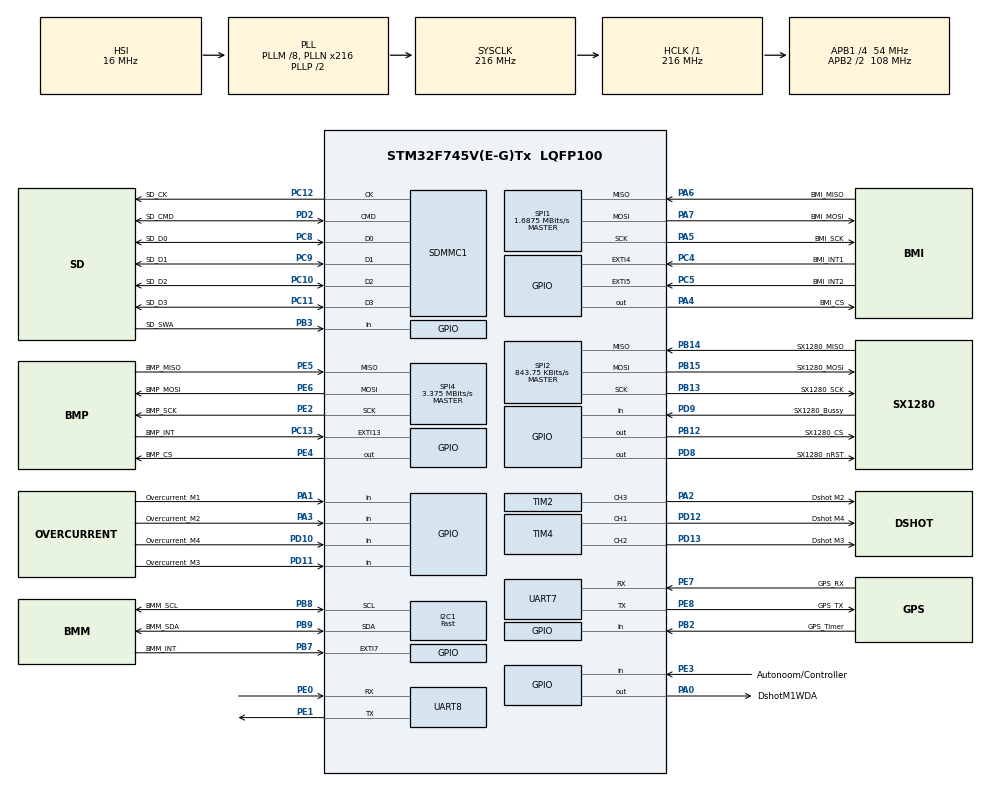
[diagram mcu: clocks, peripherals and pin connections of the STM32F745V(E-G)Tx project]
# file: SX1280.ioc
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CORTEX_M7.default_mode_Activation=1
Dma.Request0=TIM4_CH1
Dma.Request1=TIM4_CH2
Dma.Request2=TIM2_UP/CH3
Dma.TIM2_UP/CH3.2.Direction=DMA_MEMORY_TO_PERIPH
Dma.TIM2_UP/CH3.2.FIFOMode=DMA_FIFOMODE_DISABLE
Dma.TIM2_UP/CH3.2.Instance=DMA1_Stream1
Dma.TIM2_UP/CH3.2.MemDataAlignment=DMA_MDATAALIGN_WORD
Dma.TIM2_UP/CH3.2.MemInc=DMA_MINC_ENABLE
Dma.TIM2_UP/CH3.2.Mode=DMA_NORMAL
Dma.TIM2_UP/CH3.2.PeriphDataAlignment=DMA_PDATAALIGN_WORD
Dma.TIM2_UP/CH3.2.PeriphInc=DMA_PINC_DISABLE
Dma.TIM2_UP/CH3.2.Priority=DMA_PRIORITY_VERY_HIGH
Dma.TIM4_CH1.0.Direction=DMA_MEMORY_TO_PERIPH
Dma.TIM4_CH1.0.FIFOMode=DMA_FIFOMODE_DISABLE
Dma.TIM4_CH1.0.Instance=DMA1_Stream0
Dma.TIM4_CH1.0.MemDataAlignment=DMA_MDATAALIGN_HALFWORD
Dma.TIM4_CH1.0.MemInc=DMA_MINC_ENABLE
Dma.TIM4_CH1.0.Mode=DMA_NORMAL
Dma.TIM4_CH1.0.PeriphDataAlignment=DMA_PDATAALIGN_HALFWORD
Dma.TIM4_CH1.0.PeriphInc=DMA_PINC_DISABLE
Dma.TIM4_CH1.0.Priority=DMA_PRIORITY_VERY_HIGH
Dma.TIM4_CH2.1.Direction=DMA_MEMORY_TO_PERIPH
Dma.TIM4_CH2.1.FIFOMode=DMA_FIFOMODE_DISABLE
Dma.TIM4_CH2.1.Instance=DMA1_Stream3
Dma.TIM4_CH2.1.MemDataAlignment=DMA_MDATAALIGN_HALFWORD
Dma.TIM4_CH2.1.MemInc=DMA_MINC_ENABLE
Dma.TIM4_CH2.1.Mode=DMA_NORMAL
Dma.TIM4_CH2.1.PeriphDataAlignment=DMA_PDATAALIGN_HALFWORD
Dma.TIM4_CH2.1.PeriphInc=DMA_PINC_DISABLE
Dma.TIM4_CH2.1.Priority=DMA_PRIORITY_VERY_HIGH
FATFS.BSP.number=1
FATFS0.BSP.STBoard=false
FATFS0.BSP.api=Unknown
FATFS0.BSP.instance=PB3
FATFS0.BSP.ip=GPIO
FATFS0.BSP.mode=Input
FATFS0.BSP.name=Detect_SDIO
FATFS0.BSP.solution=PB3
I2C1.I2C_Speed_Mode=I2C_Fast
I2C1.Timing=0x6000030D
Mcu.Family=STM32F7
Mcu.Name=STM32F745V(E-G)Tx
Mcu.Package=LQFP100
NVIC.DMA1_Stream0_IRQn=true\:0\:0\:false\:false\:true\:false\:true\:true
NVIC.DMA1_Stream1_IRQn=true\:0\:0\:false\:false\:true\:false\:true\:true
NVIC.DMA1_Stream3_IRQn=true\:0\:0\:false\:false\:true\:false\:true\:true
NVIC.EXTI15_10_IRQn=true\:0\:0\:false\:false\:true\:true\:true\:true
NVIC.EXTI4_IRQn=true\:3\:0\:true\:false\:true\:true\:true\:true
NVIC.EXTI9_5_IRQn=true\:3\:0\:true\:false\:true\:true\:true\:true
NVIC.PriorityGroup=NVIC_PRIORITYGROUP_4
NVIC.TIM3_IRQn=true\:0\:0\:false\:false\:true\:true\:true\:true
PA0/WKUP.GPIO_Label=DshotM1WDA
PA0/WKUP.Signal=GPIO_Output
PA1.GPIO_Label=Overcurrent_M1
PA1.Signal=GPIO_Input
PA13.GPIO_Label=STLink_DIO
PA13.Mode=Serial_Wire
PA13.Signal=SYS_JTMS-SWDIO
PA14.GPIO_Label=STLink_CLK
PA14.Mode=Serial_Wire
PA14.Signal=SYS_JTCK-SWCLK
PA2.GPIO_Label=Dshot M2
PA2.Signal=S_TIM2_CH3
PA3.GPIO_Label=Overcurrent_M2
PA3.Signal=GPIO_Input
PA4.GPIO_Label=BMI_CS
PA4.Signal=GPIO_Output
PA5.GPIO_Label=BMI_SCK
PA5.Mode=Full_Duplex_Master
PA5.Signal=SPI1_SCK
PA6.GPIO_Label=BMI_MISO
PA6.Mode=Full_Duplex_Master
PA6.Signal=SPI1_MISO
PA7.GPIO_Label=BMI_MOSI
PA7.Mode=Full_Duplex_Master
PA7.Signal=SPI1_MOSI
PB12.GPIO_Label=SX1280_CS
PB12.PinState=GPIO_PIN_SET
PB12.Signal=GPIO_Output
PB13.GPIO_Label=SX1280_SCK
PB13.Mode=Full_Duplex_Master
PB13.Signal=SPI2_SCK
PB14.GPIO_Label=SX1280_MISO
PB14.Mode=Full_Duplex_Master
PB14.Signal=SPI2_MISO
PB15.GPIO_Label=SX1280_MOSI
PB15.Mode=Full_Duplex_Master
PB15.Signal=SPI2_MOSI
PB2.GPIO_Label=GPS_Timer
PB2.Signal=GPIO_Input
PB3.GPIO_Label=SD_SWA
PB3.Signal=GPIO_Input
PB7.GPIO_Label=BMM_INT
PB7.Signal=GPXTI7
PB8.GPIO_Label=BMM_SCL
PB8.Mode=I2C
PB8.Signal=I2C1_SCL
PB9.GPIO_Label=BMM_SDA
PB9.Mode=I2C
PB9.Signal=I2C1_SDA
PC10.GPIO_Label=SD_D2
PC10.Mode=SD_4_bits_Wide_bus
PC10.Signal=SDMMC1_D2
PC11.GPIO_Label=SD_D3
PC11.Mode=SD_4_bits_Wide_bus
PC11.Signal=SDMMC1_D3
PC12.GPIO_Label=SD_CK
PC12.Mode=SD_4_bits_Wide_bus
PC12.Signal=SDMMC1_CK
PC13.GPIO_Label=BMP_INT
PC13.Signal=GPXTI13
PC4.GPIO_Label=BMI_INT1
PC4.Signal=GPXTI4
PC5.GPIO_Label=BMI_INT2
PC5.Signal=GPXTI5
PC8.GPIO_Label=SD_D0
PC8.Mode=SD_4_bits_Wide_bus
PC8.Signal=SDMMC1_D0
PC9.GPIO_Label=SD_D1
PC9.Mode=SD_4_bits_Wide_bus
PC9.Signal=SDMMC1_D1
PD10.GPIO_Label=Overcurrent_M4
PD10.Signal=GPIO_Input
PD11.GPIO_Label=Overcurrent_M3
PD11.Signal=GPIO_Input
PD12.GPIO_Label=Dshot M4
PD12.Signal=S_TIM4_CH1
PD13.GPIO_Label=Dshot M3
PD13.Signal=S_TIM4_CH2
PD2.GPIO_Label=SD_CMD
PD2.Mode=SD_4_bits_Wide_bus
PD2.Signal=SDMMC1_CMD
PD8.GPIO_Label=SX1280_nRST
PD8.Signal=GPIO_Output
PD9.GPIO_Label=SX1280_Bussy
PD9.GPIO_PuPd=GPIO_PULLDOWN
PD9.Signal=GPIO_Input
PE0.Mode=Asynchronous
PE0.Signal=UART8_RX
PE1.Mode=Asynchronous
PE1.Signal=UART8_TX
PE2.GPIO_Label=BMP_SCK
PE2.Mode=Full_Duplex_Master
PE2.Signal=SPI4_SCK
PE3.GPIO_Label=Autonoom/Controller
PE3.Signal=GPIO_Input
PE4.GPIO_Label=BMP_CS
PE4.Signal=GPIO_Output
PE5.GPIO_Label=BMP_MISO
PE5.Mode=Full_Duplex_Master
PE5.Signal=SPI4_MISO
PE6.GPIO_Label=BMP_MOSI
PE6.Mode=Full_Duplex_Master
PE6.Signal=SPI4_MOSI
PE7.GPIO_Label=GPS_RX
PE7.Mode=Asynchronous
PE7.Signal=UART7_RX
PE8.GPIO_Label=GPS_TX
PE8.Mode=Asynchronous
PE8.Signal=UART7_TX
PH0/OSC_IN.Mode=HSE-External-Oscillator
PH0/OSC_IN.Signal=RCC_OSC_IN
PH1/OSC_OUT.Mode=HSE-External-Oscillator
PH1/OSC_OUT.Signal=RCC_OSC_OUT
ProjectManager.HeapSize=0x200
ProjectManager.StackSize=0x400
ProjectManager.TargetToolchain=STM32CubeIDE
RCC.AHBFreq_Value=216000000
RCC.APB1CLKDivider=RCC_HCLK_DIV4
RCC.APB1Freq_Value=54000000
RCC.APB1TimFreq_Value=108000000
RCC.APB2CLKDivider=RCC_HCLK_DIV2
RCC.APB2Freq_Value=108000000
RCC.APB2TimFreq_Value=216000000
RCC.CortexFreq_Value=216000000
RCC.HCLKFreq_Value=216000000
RCC.HSE_VALUE=16000000
RCC.HSI_VALUE=16000000
RCC.LSE_VALUE=32768
RCC.PLLM=8
RCC.PLLN=216
RCC.PLLQ=9
RCC.SDMMCClockSelection=RCC_SDMMC1CLKSOURCE_CLK48
RCC.SYSCLKFreq_VALUE=216000000
RCC.SYSCLKSource=RCC_SYSCLKSOURCE_PLLCLK
RCC.USBFreq_Value=48000000
RCC.VCOOutputFreq_Value=432000000
SDMMC1.ClockBypass=SDMMC_CLOCK_BYPASS_DISABLE
SH.S_TIM2_CH3.0=TIM2_CH3,PWM Generation3 CH3
SH.S_TIM4_CH1.0=TIM4_CH1,PWM Generation1 CH1
SH.S_TIM4_CH2.0=TIM4_CH2,PWM Generation2 CH2
SPI1.BaudRatePrescaler=SPI_BAUDRATEPRESCALER_64
SPI1.CLKPhase=SPI_PHASE_1EDGE
SPI1.CLKPolarity=SPI_POLARITY_LOW
SPI1.CalculateBaudRate=1.6875 MBits/s
SPI1.DataSize=SPI_DATASIZE_8BIT
SPI1.Direction=SPI_DIRECTION_2LINES
SPI1.Mode=SPI_MODE_MASTER
SPI1.VirtualType=VM_MASTER
SPI2.BaudRatePrescaler=SPI_BAUDRATEPRESCALER_64
SPI2.CalculateBaudRate=843.75 KBits/s
SPI2.DataSize=SPI_DATASIZE_8BIT
SPI2.Direction=SPI_DIRECTION_2LINES
SPI2.Mode=SPI_MODE_MASTER
SPI2.NSSPMode=SPI_NSS_PULSE_DISABLE
SPI2.VirtualType=VM_MASTER
SPI4.BaudRatePrescaler=SPI_BAUDRATEPRESCALER_32
SPI4.CLKPhase=SPI_PHASE_1EDGE
SPI4.CLKPolarity=SPI_POLARITY_LOW
SPI4.CalculateBaudRate=3.375 MBits/s
SPI4.DataSize=SPI_DATASIZE_8BIT
SPI4.Direction=SPI_DIRECTION_2LINES
SPI4.Mode=SPI_MODE_MASTER
SPI4.VirtualType=VM_MASTER
TIM2.Channel-PWM\ Generation3\ CH3=TIM_CHANNEL_3
TIM3.Period=19999
TIM3.Prescaler=107
TIM4.Channel-PWM\ Generation1\ CH1=TIM_CHANNEL_1
TIM4.Channel-PWM\ Generation2\ CH2=TIM_CHANNEL_2
UART8.SwapParam=UART_ADVFEATURE_SWAP_ENABLE
VP_FATFS_VS_SDIO.Mode=SDIO
VP_TIM3_VS_ClockSourceINT.Mode=Internal
board=custom

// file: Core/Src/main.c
/* USER CODE BEGIN Header */
/**
  ******************************************************************************
  * @file           : main.c
  * @brief          : Main program body
  ******************************************************************************
  * @attention
  *
  * Copyright (c) 2026 STMicroelectronics.
  * All rights reserved.
  *
  * This software is licensed under terms that can be found in the LICENSE file
  * in the root directory of this software component.
  * If no LICENSE file comes with this software, it is provided AS-IS.
  *
  ******************************************************************************
  */
/* USER CODE END Header */
#include "main.h"
#include "fatfs.h"

/* USER CODE BEGIN Includes */
//#include "BMI330.h"
#include "stdio.h"
#include "sx1280include.h"
#include <stdint.h>
/* USER CODE END Includes */

/* USER CODE BEGIN PD */
#define FHSS_SEQUENCE_LEN 256  // ELRS standaard sequence lengte
#define FREQ_COUNT 80          // Aantal kanalen in ISM2400 band
#define SYNC_CHANNEL 40        // Midden van de band (80 / 2)
/* USER CODE END PD */

I2C_HandleTypeDef hi2c1;

SD_HandleTypeDef hsd1;

SPI_HandleTypeDef hspi1;
SPI_HandleTypeDef hspi2;
SPI_HandleTypeDef hspi4;

TIM_HandleTypeDef htim2;
TIM_HandleTypeDef htim3;
TIM_HandleTypeDef htim4;
DMA_HandleTypeDef hdma_tim2_up_ch3;
DMA_HandleTypeDef hdma_tim4_ch1;
DMA_HandleTypeDef hdma_tim4_ch2;

UART_HandleTypeDef huart7;
UART_HandleTypeDef huart8;

/* USER CODE BEGIN PV */
/*
PID_Handle_t struct_PidRateRoll;
PID_Handle_t struct_PidRatePitch;
PID_Handle_t struct_PidRateYaw;
*/
/* USER CODE END PV */

void SystemClock_Config(void);
static void MPU_Config(void);
static void MX_GPIO_Init(void);
static void MX_DMA_Init(void);
static void MX_I2C1_Init(void);
static void MX_SDMMC1_SD_Init(void);
static void MX_SPI1_Init(void);
static void MX_SPI2_Init(void);
static void MX_SPI4_Init(void);
static void MX_TIM2_Init(void);
static void MX_TIM4_Init(void);
static void MX_UART7_Init(void);
static void MX_UART8_Init(void);
static void MX_TIM3_Init(void);

/* USER CODE BEGIN 0 */
int _write(int file, char *ptr, int len) {
	for(int i = 0; i < len; i++){
		if(ptr[i]=='\n'){
			HAL_UART_Transmit(&huart8, (uint8_t*)"\r", 1, HAL_MAX_DELAY);
		}
		HAL_UART_Transmit(&huart8, (uint8_t*)&ptr[i], 1, HAL_MAX_DELAY);
	}
    return len;
}

volatile uint8_t rx_packet_flag = 0;
int new_gyro_data_available = 0;

volatile uint8_t fhss_index = 0;
volatile uint8_t is_synchronized = 0;
uint32_t fhss_seed;
uint8_t fhss_sequence[FHSS_SEQUENCE_LEN];

// --- PRNG Functies (gebaseerd op ELRS random.cpp) ---
void rngSeed(uint32_t seed) {
    fhss_seed = seed;
}

uint32_t rng32(void) {
    fhss_seed ^= fhss_seed << 13;
    fhss_seed ^= fhss_seed >> 17;
    fhss_seed ^= fhss_seed << 5;
    return fhss_seed;
}

// Genereert random getal van 0 tot (max - 1)
uint32_t rngN(uint32_t max) {
    return ((uint64_t)rng32() * max) >> 32;
}

// --- De exacte FHSS bouwer uit jouw bestand ---
void FHSS_GenerateSequence(void) {
    // Jouw specifieke seed (laatste 4 bytes van UID: 163, 59, 219, 118, 199, 162)
    uint32_t my_seed = (219 << 24) | (118 << 16) | (199 << 8) | 162;
    rngSeed(my_seed);

    // 1. Array initialiseren in blokken van 80
    for (uint16_t i = 0; i < FHSS_SEQUENCE_LEN; i++) {
        if (i % FREQ_COUNT == 0) {
            fhss_sequence[i] = SYNC_CHANNEL; // Zet kanaal 40 altijd vooraan het blok
        } else if (i % FREQ_COUNT == SYNC_CHANNEL) {
            fhss_sequence[i] = 0;
        } else {
            fhss_sequence[i] = i % FREQ_COUNT;
        }
    }

    // 2. Array shufflen, maar het Sync Kanaal negeren!
    for (uint16_t i = 0; i < FHSS_SEQUENCE_LEN; i++) {
        // Als het NIET het sync kanaal is (dus niet index 0, 80, 160, 240)
        if (i % FREQ_COUNT != 0) {
            uint8_t offset = (i / FREQ_COUNT) * FREQ_COUNT;  // Bereken begin van huidige blok
            uint8_t rand = rngN(FREQ_COUNT - 1) + 1;         // Random offset tussen 1 en 79

            // Wissel dit element met een ander random element in hetzelfde blok
            uint8_t temp = fhss_sequence[i];
            fhss_sequence[i] = fhss_sequence[offset + rand];
            fhss_sequence[offset + rand] = temp;
        }
    }
}

/* USER CODE END 0 */

int main(void)
{

  /* MPU Configuration--------------------------------------------------------*/
  MPU_Config();

  /* MCU Configuration--------------------------------------------------------*/

  /* Reset of all peripherals, Initializes the Flash interface and the Systick. */
  HAL_Init();

  /* USER CODE BEGIN Init */
  //Init_RateLoops();
  //BMM350_Init();
  //BMP384_Init();
  //BMI330_Init();
  //PID_HandleInit(struct_PidRateRoll);
  //PID_HandleInit(struct_PidRatePitch);
  //PID_HandleInit(struct_PidRateYaw);

  /* USER CODE END Init */

  /* Configure the system clock */
  SystemClock_Config();

  /* Initialize all configured peripherals */
  MX_GPIO_Init();
  MX_DMA_Init();
  MX_I2C1_Init();
  MX_SDMMC1_SD_Init();
  MX_SPI1_Init();
  MX_SPI2_Init();
  MX_SPI4_Init();
  MX_TIM2_Init();
  MX_TIM4_Init();
  MX_UART7_Init();
  MX_FATFS_Init();
  MX_UART8_Init();
  MX_TIM3_Init();
  /* USER CODE BEGIN 2 */
  HAL_TIM_Base_Start_IT(&htim3);
  HAL_Delay(5000);
  uint8_t is_sx1280_working = SX1280_TestConnection();
  while(is_sx1280_working == 0){
    if(is_sx1280_working == 0){
        printf("Er is een fout\n");
        //while(1);
    }
    HAL_Delay(100);
    is_sx1280_working = SX1280_TestConnection();
  }
  	printf("Het werkt\n");

//HAL_Delay(5000);
    SX1280_Setup_Sniper();

    FHSS_GenerateSequence();
	for(int i = 0; i < 80; i++){
		printf("%d, ",  fhss_sequence[i]);
	}
	printf("\n");

      // zendvermogen, rampup time: 13 dBm, 20us
      //SX1280_SetTxParams(0x1F, 0xE0);

      //uint32_t last_send_time = 0;
      //uint8_t test_payload[] = {0x48, 0x65, 0x6C, 0x6C, 0x6F}; // "Hello"
      //SX1280_SetTxContinuousWave();

  /* USER CODE END 2 */

  /* Infinite loop */
  /* USER CODE BEGIN WHILE */
  while (1)
  {
	  // 1. Polling: Vraag via SPI of het RxDone bitje is gezet
	          if (SX1280_CheckRxDonePolling() == 1)
	          {
	              printf("[MAIN] Pakket gevonden via POLLING! Data verwerken...\n");

	              // Deze functie leest de data, wist de IRQ vlag en start RX opnieuw
	              SX1280_OnPacketReceived();
	          }

	          // 2. Heartbeat: Zodat we weten dat de loop niet is vastgelopen
	          static uint32_t last_heartbeat = 0;
	          if ((HAL_GetTick() - last_heartbeat) > 2000)
	          {
	              last_heartbeat = HAL_GetTick();
	              printf("Aan het luisteren op 2.4404 GHz (Sync Kanaal)...\n");
	              int8_t waardedb = SX1280_GetRssiInst();
	              printf("db waarde: %d\n", waardedb);
	          }

	          // Een heel klein beetje ademruimte voor de loop (voorkomt dat de SPI bus continu wordt gespamd)
	          HAL_Delay(1);
    /* USER CODE END WHILE */

  }
}

void SystemClock_Config(void)
{
  RCC_OscInitTypeDef RCC_OscInitStruct = {0};
  RCC_ClkInitTypeDef RCC_ClkInitStruct = {0};

  /** Configure the main internal regulator output voltage
  */
  __HAL_RCC_PWR_CLK_ENABLE();
  __HAL_PWR_VOLTAGESCALING_CONFIG(PWR_REGULATOR_VOLTAGE_SCALE1);

  /** Initializes the RCC Oscillators according to the specified parameters
  * in the RCC_OscInitTypeDef structure.
  */
  RCC_OscInitStruct.OscillatorType = RCC_OSCILLATORTYPE_HSI;
  RCC_OscInitStruct.HSIState = RCC_HSI_ON;
  RCC_OscInitStruct.HSICalibrationValue = RCC_HSICALIBRATION_DEFAULT;
  RCC_OscInitStruct.PLL.PLLState = RCC_PLL_ON;
  RCC_OscInitStruct.PLL.PLLSource = RCC_PLLSOURCE_HSI;
  RCC_OscInitStruct.PLL.PLLM = 8;
  RCC_OscInitStruct.PLL.PLLN = 216;
  RCC_OscInitStruct.PLL.PLLP = RCC_PLLP_DIV2;
  RCC_OscInitStruct.PLL.PLLQ = 9;
  if (HAL_RCC_OscConfig(&RCC_OscInitStruct) != HAL_OK)
  {
    Error_Handler();
  }

  /** Activate the Over-Drive mode
  */
  if (HAL_PWREx_EnableOverDrive() != HAL_OK)
  {
    Error_Handler();
  }

  /** Initializes the CPU, AHB and APB buses clocks
  */
  RCC_ClkInitStruct.ClockType = RCC_CLOCKTYPE_HCLK|RCC_CLOCKTYPE_SYSCLK
                              |RCC_CLOCKTYPE_PCLK1|RCC_CLOCKTYPE_PCLK2;
  RCC_ClkInitStruct.SYSCLKSource = RCC_SYSCLKSOURCE_PLLCLK;
  RCC_ClkInitStruct.AHBCLKDivider = RCC_SYSCLK_DIV1;
  RCC_ClkInitStruct.APB1CLKDivider = RCC_HCLK_DIV4;
  RCC_ClkInitStruct.APB2CLKDivider = RCC_HCLK_DIV2;

  if (HAL_RCC_ClockConfig(&RCC_ClkInitStruct, FLASH_LATENCY_7) != HAL_OK)
  {
    Error_Handler();
  }
}

static void MX_I2C1_Init(void)
{

  hi2c1.Instance = I2C1;
  hi2c1.Init.Timing = 0x6000030D;
  hi2c1.Init.OwnAddress1 = 0;
  hi2c1.Init.AddressingMode = I2C_ADDRESSINGMODE_7BIT;
  hi2c1.Init.DualAddressMode = I2C_DUALADDRESS_DISABLE;
  hi2c1.Init.OwnAddress2 = 0;
  hi2c1.Init.OwnAddress2Masks = I2C_OA2_NOMASK;
  hi2c1.Init.GeneralCallMode = I2C_GENERALCALL_DISABLE;
  hi2c1.Init.NoStretchMode = I2C_NOSTRETCH_DISABLE;
  if (HAL_I2C_Init(&hi2c1) != HAL_OK)
  {
    Error_Handler();
  }

  /** Configure Analogue filter
  */
  if (HAL_I2CEx_ConfigAnalogFilter(&hi2c1, I2C_ANALOGFILTER_ENABLE) != HAL_OK)
  {
    Error_Handler();
  }

  /** Configure Digital filter
  */
  if (HAL_I2CEx_ConfigDigitalFilter(&hi2c1, 0) != HAL_OK)
  {
    Error_Handler();
  }

}

static void MX_SDMMC1_SD_Init(void)
{

  hsd1.Instance = SDMMC1;
  hsd1.Init.ClockEdge = SDMMC_CLOCK_EDGE_RISING;
  hsd1.Init.ClockBypass = SDMMC_CLOCK_BYPASS_DISABLE;
  hsd1.Init.ClockPowerSave = SDMMC_CLOCK_POWER_SAVE_DISABLE;
  hsd1.Init.BusWide = SDMMC_BUS_WIDE_1B;
  hsd1.Init.HardwareFlowControl = SDMMC_HARDWARE_FLOW_CONTROL_DISABLE;
  hsd1.Init.ClockDiv = 0;

}

static void MX_SPI1_Init(void)
{

  /* SPI1 parameter configuration*/
  hspi1.Instance = SPI1;
  hspi1.Init.Mode = SPI_MODE_MASTER;
  hspi1.Init.Direction = SPI_DIRECTION_2LINES;
  hspi1.Init.DataSize = SPI_DATASIZE_8BIT;
  hspi1.Init.CLKPolarity = SPI_POLARITY_LOW;
  hspi1.Init.CLKPhase = SPI_PHASE_1EDGE;
  hspi1.Init.NSS = SPI_NSS_SOFT;
  hspi1.Init.BaudRatePrescaler = SPI_BAUDRATEPRESCALER_64;
  hspi1.Init.FirstBit = SPI_FIRSTBIT_MSB;
  hspi1.Init.TIMode = SPI_TIMODE_DISABLE;
  hspi1.Init.CRCCalculation = SPI_CRCCALCULATION_DISABLE;
  hspi1.Init.CRCPolynomial = 7;
  hspi1.Init.CRCLength = SPI_CRC_LENGTH_DATASIZE;
  hspi1.Init.NSSPMode = SPI_NSS_PULSE_ENABLE;
  if (HAL_SPI_Init(&hspi1) != HAL_OK)
  {
    Error_Handler();
  }

}

static void MX_SPI2_Init(void)
{

  /* SPI2 parameter configuration*/
  hspi2.Instance = SPI2;
  hspi2.Init.Mode = SPI_MODE_MASTER;
  hspi2.Init.Direction = SPI_DIRECTION_2LINES;
  hspi2.Init.DataSize = SPI_DATASIZE_8BIT;
  hspi2.Init.CLKPolarity = SPI_POLARITY_LOW;
  hspi2.Init.CLKPhase = SPI_PHASE_1EDGE;
  hspi2.Init.NSS = SPI_NSS_SOFT;
  hspi2.Init.BaudRatePrescaler = SPI_BAUDRATEPRESCALER_64;
  hspi2.Init.FirstBit = SPI_FIRSTBIT_MSB;
  hspi2.Init.TIMode = SPI_TIMODE_DISABLE;
  hspi2.Init.CRCCalculation = SPI_CRCCALCULATION_DISABLE;
  hspi2.Init.CRCPolynomial = 7;
  hspi2.Init.CRCLength = SPI_CRC_LENGTH_DATASIZE;
  hspi2.Init.NSSPMode = SPI_NSS_PULSE_DISABLE;
  if (HAL_SPI_Init(&hspi2) != HAL_OK)
  {
    Error_Handler();
  }

}

static void MX_SPI4_Init(void)
{

  /* SPI4 parameter configuration*/
  hspi4.Instance = SPI4;
  hspi4.Init.Mode = SPI_MODE_MASTER;
  hspi4.Init.Direction = SPI_DIRECTION_2LINES;
  hspi4.Init.DataSize = SPI_DATASIZE_8BIT;
  hspi4.Init.CLKPolarity = SPI_POLARITY_LOW;
  hspi4.Init.CLKPhase = SPI_PHASE_1EDGE;
  hspi4.Init.NSS = SPI_NSS_SOFT;
  hspi4.Init.BaudRatePrescaler = SPI_BAUDRATEPRESCALER_32;
  hspi4.Init.FirstBit = SPI_FIRSTBIT_MSB;
  hspi4.Init.TIMode = SPI_TIMODE_DISABLE;
  hspi4.Init.CRCCalculation = SPI_CRCCALCULATION_DISABLE;
  hspi4.Init.CRCPolynomial = 7;
  hspi4.Init.CRCLength = SPI_CRC_LENGTH_DATASIZE;
  hspi4.Init.NSSPMode = SPI_NSS_PULSE_ENABLE;
  if (HAL_SPI_Init(&hspi4) != HAL_OK)
  {
    Error_Handler();
  }

}

static void MX_TIM2_Init(void)
{

  TIM_MasterConfigTypeDef sMasterConfig = {0};
  TIM_OC_InitTypeDef sConfigOC = {0};

  htim2.Instance = TIM2;
  htim2.Init.Prescaler = 0;
  htim2.Init.CounterMode = TIM_COUNTERMODE_UP;
  htim2.Init.Period = 4294967295;
  htim2.Init.ClockDivision = TIM_CLOCKDIVISION_DIV1;
  htim2.Init.AutoReloadPreload = TIM_AUTORELOAD_PRELOAD_DISABLE;
  if (HAL_TIM_PWM_Init(&htim2) != HAL_OK)
  {
    Error_Handler();
  }
  sMasterConfig.MasterOutputTrigger = TIM_TRGO_RESET;
  sMasterConfig.MasterSlaveMode = TIM_MASTERSLAVEMODE_DISABLE;
  if (HAL_TIMEx_MasterConfigSynchronization(&htim2, &sMasterConfig) != HAL_OK)
  {
    Error_Handler();
  }
  sConfigOC.OCMode = TIM_OCMODE_PWM1;
  sConfigOC.Pulse = 0;
  sConfigOC.OCPolarity = TIM_OCPOLARITY_HIGH;
  sConfigOC.OCFastMode = TIM_OCFAST_DISABLE;
  if (HAL_TIM_PWM_ConfigChannel(&htim2, &sConfigOC, TIM_CHANNEL_3) != HAL_OK)
  {
    Error_Handler();
  }
  HAL_TIM_MspPostInit(&htim2);

}

static void MX_TIM3_Init(void)
{

  TIM_ClockConfigTypeDef sClockSourceConfig = {0};
  TIM_MasterConfigTypeDef sMasterConfig = {0};

  htim3.Instance = TIM3;
  htim3.Init.Prescaler = 107;
  htim3.Init.CounterMode = TIM_COUNTERMODE_UP;
  htim3.Init.Period = 19999;
  htim3.Init.ClockDivision = TIM_CLOCKDIVISION_DIV1;
  htim3.Init.AutoReloadPreload = TIM_AUTORELOAD_PRELOAD_DISABLE;
  if (HAL_TIM_Base_Init(&htim3) != HAL_OK)
  {
    Error_Handler();
  }
  sClockSourceConfig.ClockSource = TIM_CLOCKSOURCE_INTERNAL;
  if (HAL_TIM_ConfigClockSource(&htim3, &sClockSourceConfig) != HAL_OK)
  {
    Error_Handler();
  }
  sMasterConfig.MasterOutputTrigger = TIM_TRGO_RESET;
  sMasterConfig.MasterSlaveMode = TIM_MASTERSLAVEMODE_DISABLE;
  if (HAL_TIMEx_MasterConfigSynchronization(&htim3, &sMasterConfig) != HAL_OK)
  {
    Error_Handler();
  }

}

static void MX_TIM4_Init(void)
{

  TIM_MasterConfigTypeDef sMasterConfig = {0};
  TIM_OC_InitTypeDef sConfigOC = {0};

  htim4.Instance = TIM4;
  htim4.Init.Prescaler = 0;
  htim4.Init.CounterMode = TIM_COUNTERMODE_UP;
  htim4.Init.Period = 65535;
  htim4.Init.ClockDivision = TIM_CLOCKDIVISION_DIV1;
  htim4.Init.AutoReloadPreload = TIM_AUTORELOAD_PRELOAD_DISABLE;
  if (HAL_TIM_PWM_Init(&htim4) != HAL_OK)
  {
    Error_Handler();
  }
  sMasterConfig.MasterOutputTrigger = TIM_TRGO_RESET;
  sMasterConfig.MasterSlaveMode = TIM_MASTERSLAVEMODE_DISABLE;
  if (HAL_TIMEx_MasterConfigSynchronization(&htim4, &sMasterConfig) != HAL_OK)
  {
    Error_Handler();
  }
  sConfigOC.OCMode = TIM_OCMODE_PWM1;
  sConfigOC.Pulse = 0;
  sConfigOC.OCPolarity = TIM_OCPOLARITY_HIGH;
  sConfigOC.OCFastMode = TIM_OCFAST_DISABLE;
  if (HAL_TIM_PWM_ConfigChannel(&htim4, &sConfigOC, TIM_CHANNEL_1) != HAL_OK)
  {
    Error_Handler();
  }
  if (HAL_TIM_PWM_ConfigChannel(&htim4, &sConfigOC, TIM_CHANNEL_2) != HAL_OK)
  {
    Error_Handler();
  }
  HAL_TIM_MspPostInit(&htim4);

}

static void MX_UART7_Init(void)
{

  huart7.Instance = UART7;
  huart7.Init.BaudRate = 115200;
  huart7.Init.WordLength = UART_WORDLENGTH_8B;
  huart7.Init.StopBits = UART_STOPBITS_1;
  huart7.Init.Parity = UART_PARITY_NONE;
  huart7.Init.Mode = UART_MODE_TX_RX;
  huart7.Init.HwFlowCtl = UART_HWCONTROL_NONE;
  huart7.Init.OverSampling = UART_OVERSAMPLING_16;
  huart7.Init.OneBitSampling = UART_ONE_BIT_SAMPLE_DISABLE;
  huart7.AdvancedInit.AdvFeatureInit = UART_ADVFEATURE_NO_INIT;
  if (HAL_UART_Init(&huart7) != HAL_OK)
  {
    Error_Handler();
  }

}

static void MX_UART8_Init(void)
{

  huart8.Instance = UART8;
  huart8.Init.BaudRate = 115200;
  huart8.Init.WordLength = UART_WORDLENGTH_8B;
  huart8.Init.StopBits = UART_STOPBITS_1;
  huart8.Init.Parity = UART_PARITY_NONE;
  huart8.Init.Mode = UART_MODE_TX_RX;
  huart8.Init.HwFlowCtl = UART_HWCONTROL_NONE;
  huart8.Init.OverSampling = UART_OVERSAMPLING_16;
  huart8.Init.OneBitSampling = UART_ONE_BIT_SAMPLE_DISABLE;
  huart8.AdvancedInit.AdvFeatureInit = UART_ADVFEATURE_SWAP_INIT;
  huart8.AdvancedInit.Swap = UART_ADVFEATURE_SWAP_ENABLE;
  if (HAL_UART_Init(&huart8) != HAL_OK)
  {
    Error_Handler();
  }

}

static void MX_DMA_Init(void)
{

  /* DMA controller clock enable */
  __HAL_RCC_DMA1_CLK_ENABLE();

  /* DMA interrupt init */
  /* DMA1_Stream0_IRQn interrupt configuration */
  HAL_NVIC_SetPriority(DMA1_Stream0_IRQn, 0, 0);
  HAL_NVIC_EnableIRQ(DMA1_Stream0_IRQn);
  /* DMA1_Stream1_IRQn interrupt configuration */
  HAL_NVIC_SetPriority(DMA1_Stream1_IRQn, 0, 0);
  HAL_NVIC_EnableIRQ(DMA1_Stream1_IRQn);
  /* DMA1_Stream3_IRQn interrupt configuration */
  HAL_NVIC_SetPriority(DMA1_Stream3_IRQn, 0, 0);
  HAL_NVIC_EnableIRQ(DMA1_Stream3_IRQn);

}

static void MX_GPIO_Init(void)
{
  GPIO_InitTypeDef GPIO_InitStruct = {0};

  /* GPIO Ports Clock Enable */
  __HAL_RCC_GPIOE_CLK_ENABLE();
  __HAL_RCC_GPIOC_CLK_ENABLE();
  __HAL_RCC_GPIOH_CLK_ENABLE();
  __HAL_RCC_GPIOA_CLK_ENABLE();
  __HAL_RCC_GPIOB_CLK_ENABLE();
  __HAL_RCC_GPIOD_CLK_ENABLE();

  /*Configure GPIO pin Output Level */
  HAL_GPIO_WritePin(BMP_CS_GPIO_Port, BMP_CS_Pin, GPIO_PIN_RESET);

  /*Configure GPIO pin Output Level */
  HAL_GPIO_WritePin(GPIOA, DshotM1WDA_Pin|BMI_CS_Pin, GPIO_PIN_RESET);

  /*Configure GPIO pin Output Level */
  HAL_GPIO_WritePin(SX1280_CS_GPIO_Port, SX1280_CS_Pin, GPIO_PIN_SET);

  /*Configure GPIO pin Output Level */
  HAL_GPIO_WritePin(SX1280_nRST_GPIO_Port, SX1280_nRST_Pin, GPIO_PIN_RESET);

  /*Configure GPIO pin : Autonoom_Controller_Pin */
  GPIO_InitStruct.Pin = Autonoom_Controller_Pin;
  GPIO_InitStruct.Mode = GPIO_MODE_INPUT;
  GPIO_InitStruct.Pull = GPIO_NOPULL;
  HAL_GPIO_Init(Autonoom_Controller_GPIO_Port, &GPIO_InitStruct);

  /*Configure GPIO pin : BMP_CS_Pin */
  GPIO_InitStruct.Pin = BMP_CS_Pin;
  GPIO_InitStruct.Mode = GPIO_MODE_OUTPUT_PP;
  GPIO_InitStruct.Pull = GPIO_NOPULL;
  GPIO_InitStruct.Speed = GPIO_SPEED_FREQ_LOW;
  HAL_GPIO_Init(BMP_CS_GPIO_Port, &GPIO_InitStruct);

  /*Configure GPIO pins : BMP_INT_Pin BMI_INT1_Pin BMI_INT2_Pin */
  GPIO_InitStruct.Pin = BMP_INT_Pin|BMI_INT1_Pin|BMI_INT2_Pin;
  GPIO_InitStruct.Mode = GPIO_MODE_IT_RISING;
  GPIO_InitStruct.Pull = GPIO_NOPULL;
  HAL_GPIO_Init(GPIOC, &GPIO_InitStruct);

  /*Configure GPIO pins : DshotM1WDA_Pin BMI_CS_Pin */
  GPIO_InitStruct.Pin = DshotM1WDA_Pin|BMI_CS_Pin;
  GPIO_InitStruct.Mode = GPIO_MODE_OUTPUT_PP;
  GPIO_InitStruct.Pull = GPIO_NOPULL;
  GPIO_InitStruct.Speed = GPIO_SPEED_FREQ_LOW;
  HAL_GPIO_Init(GPIOA, &GPIO_InitStruct);

  /*Configure GPIO pins : Overcurrent_M1_Pin Overcurrent_M2_Pin */
  GPIO_InitStruct.Pin = Overcurrent_M1_Pin|Overcurrent_M2_Pin;
  GPIO_InitStruct.Mode = GPIO_MODE_INPUT;
  GPIO_InitStruct.Pull = GPIO_NOPULL;
  HAL_GPIO_Init(GPIOA, &GPIO_InitStruct);

  /*Configure GPIO pins : GPS_Timer_Pin SD_SWA_Pin */
  GPIO_InitStruct.Pin = GPS_Timer_Pin|SD_SWA_Pin;
  GPIO_InitStruct.Mode = GPIO_MODE_INPUT;
  GPIO_InitStruct.Pull = GPIO_NOPULL;
  HAL_GPIO_Init(GPIOB, &GPIO_InitStruct);

  /*Configure GPIO pin : SX1280_CS_Pin */
  GPIO_InitStruct.Pin = SX1280_CS_Pin;
  GPIO_InitStruct.Mode = GPIO_MODE_OUTPUT_PP;
  GPIO_InitStruct.Pull = GPIO_NOPULL;
  GPIO_InitStruct.Speed = GPIO_SPEED_FREQ_LOW;
  HAL_GPIO_Init(SX1280_CS_GPIO_Port, &GPIO_InitStruct);

  /*Configure GPIO pin : SX1280_nRST_Pin */
  GPIO_InitStruct.Pin = SX1280_nRST_Pin;
  GPIO_InitStruct.Mode = GPIO_MODE_OUTPUT_PP;
  GPIO_InitStruct.Pull = GPIO_NOPULL;
  GPIO_InitStruct.Speed = GPIO_SPEED_FREQ_LOW;
  HAL_GPIO_Init(SX1280_nRST_GPIO_Port, &GPIO_InitStruct);

  /*Configure GPIO pin : SX1280_Bussy_Pin */
  GPIO_InitStruct.Pin = SX1280_Bussy_Pin;
  GPIO_InitStruct.Mode = GPIO_MODE_INPUT;
  GPIO_InitStruct.Pull = GPIO_PULLDOWN;
  HAL_GPIO_Init(SX1280_Bussy_GPIO_Port, &GPIO_InitStruct);

  /*Configure GPIO pins : Overcurrent_M4_Pin Overcurrent_M3_Pin */
  GPIO_InitStruct.Pin = Overcurrent_M4_Pin|Overcurrent_M3_Pin;
  GPIO_InitStruct.Mode = GPIO_MODE_INPUT;
  GPIO_InitStruct.Pull = GPIO_NOPULL;
  HAL_GPIO_Init(GPIOD, &GPIO_InitStruct);

  /*Configure GPIO pin : BMM_INT_Pin */
  GPIO_InitStruct.Pin = BMM_INT_Pin;
  GPIO_InitStruct.Mode = GPIO_MODE_IT_RISING;
  GPIO_InitStruct.Pull = GPIO_NOPULL;
  HAL_GPIO_Init(BMM_INT_GPIO_Port, &GPIO_InitStruct);

  /* EXTI interrupt init*/
  HAL_NVIC_SetPriority(EXTI4_IRQn, 3, 0);
  HAL_NVIC_EnableIRQ(EXTI4_IRQn);

  HAL_NVIC_SetPriority(EXTI9_5_IRQn, 3, 0);
  HAL_NVIC_EnableIRQ(EXTI9_5_IRQn);

  HAL_NVIC_SetPriority(EXTI15_10_IRQn, 0, 0);
  HAL_NVIC_EnableIRQ(EXTI15_10_IRQn);

}

/* USER CODE BEGIN 4 */
void HAL_TIM_PeriodElapsedCallback(TIM_HandleTypeDef *htim)
{
    if (htim->Instance == TIM3 && is_synchronized == 1)
    {
        // 1. Ga naar het volgende kanaal in de array
        fhss_index++;
        if (fhss_index >= 80) { // FREQ_COUNT
            fhss_index = 0;
        }

        // 2. Bereken de nieuwe frequentie
        // ELRS basis is 2400.4 MHz (2400400000 Hz) + (kanaal * 1 MHz)
        uint32_t nieuwe_frequentie = 2400400000 + (fhss_sequence[fhss_index] * 1000000);

        // 3. Stuur commando's naar de SX1280 (Snel!)
        SX1280_SetRfFrequency(nieuwe_frequentie);
        SX1280_SetRx();

        // Let op: Printfs in een interrupt zijn gevaarlijk traag,
        // maar voor nu even handig om te zien of hij hopt!
        // printf("Gehopt naar index %d (Kanaal %d)\n", fhss_index, fhss_sequence[fhss_index]);
    }
}
/*
void Update_Motors(uint16_t throttle, int16_t roll, int16_t pitch, int16_t yaw) {
    int16_t m1 = throttle + pitch + roll - yaw; // Linksvoor
    int16_t m2 = throttle + pitch - roll + yaw; // Rechtsvoor
    int16_t m3 = throttle - pitch + roll + yaw; // Linksachter
    int16_t m4 = throttle - pitch - roll - yaw; // Rechtsachter
}
*/
void HAL_GPIO_EXTI_Callback(uint16_t GPIO_Pin)
{
	/*
    if (GPIO_Pin == GPIO_PIN_4)
    {
    	BMI330_Frame current_data;
    	uint16_t data[15];
    	int len = 15;
    	BMI330_ReadFIFO(data, len);
    	BMI330_ParseFIFOFrame(&data, &current_data);

    	int16_t rate_x = current_data.gyr_x - gyro_offset_x;
    	int16_t rate_y = current_data.gyr_y - gyro_offset_y;
    	int16_t rate_z = current_data.gyr_z - gyro_offset_z;

    	int16_t out_roll  = PID_Controller(&struct_PidRateRoll,  target_rate_x - rate_x);
    	int16_t out_pitch = PID_Controller(&struct_PidRatePitch, target_rate_y - rate_y);
    	int16_t out_yaw   = PID_Controller(&struct_PidRateYaw,   target_rate_z - rate_z);

    	Update_Motors(base_throttle, out_roll, out_pitch, out_yaw);
    	new_gyro_data_available = 1;
    }

    if (GPIO_Pin == GPIO_PIN_5)
    {

    }
*/
    if (GPIO_Pin == GPIO_PIN_15)
	{
    	rx_packet_flag = 1;
	}

}

/* USER CODE END 4 */

 /* MPU Configuration */

void MPU_Config(void)
{
  MPU_Region_InitTypeDef MPU_InitStruct = {0};

  /* Disables the MPU */
  HAL_MPU_Disable();

  /** Initializes and configures the Region and the memory to be protected
  */
  MPU_InitStruct.Enable = MPU_REGION_ENABLE;
  MPU_InitStruct.Number = MPU_REGION_NUMBER0;
  MPU_InitStruct.BaseAddress = 0x0;
  MPU_InitStruct.Size = MPU_REGION_SIZE_4GB;
  MPU_InitStruct.SubRegionDisable = 0x87;
  MPU_InitStruct.TypeExtField = MPU_TEX_LEVEL0;
  MPU_InitStruct.AccessPermission = MPU_REGION_NO_ACCESS;
  MPU_InitStruct.DisableExec = MPU_INSTRUCTION_ACCESS_DISABLE;
  MPU_InitStruct.IsShareable = MPU_ACCESS_SHAREABLE;
  MPU_InitStruct.IsCacheable = MPU_ACCESS_NOT_CACHEABLE;
  MPU_InitStruct.IsBufferable = MPU_ACCESS_NOT_BUFFERABLE;

  HAL_MPU_ConfigRegion(&MPU_InitStruct);
  /* Enables the MPU */
  HAL_MPU_Enable(MPU_PRIVILEGED_DEFAULT);

}

void Error_Handler(void)
{
  __disable_irq();
  while (1)
  {
  }
}
